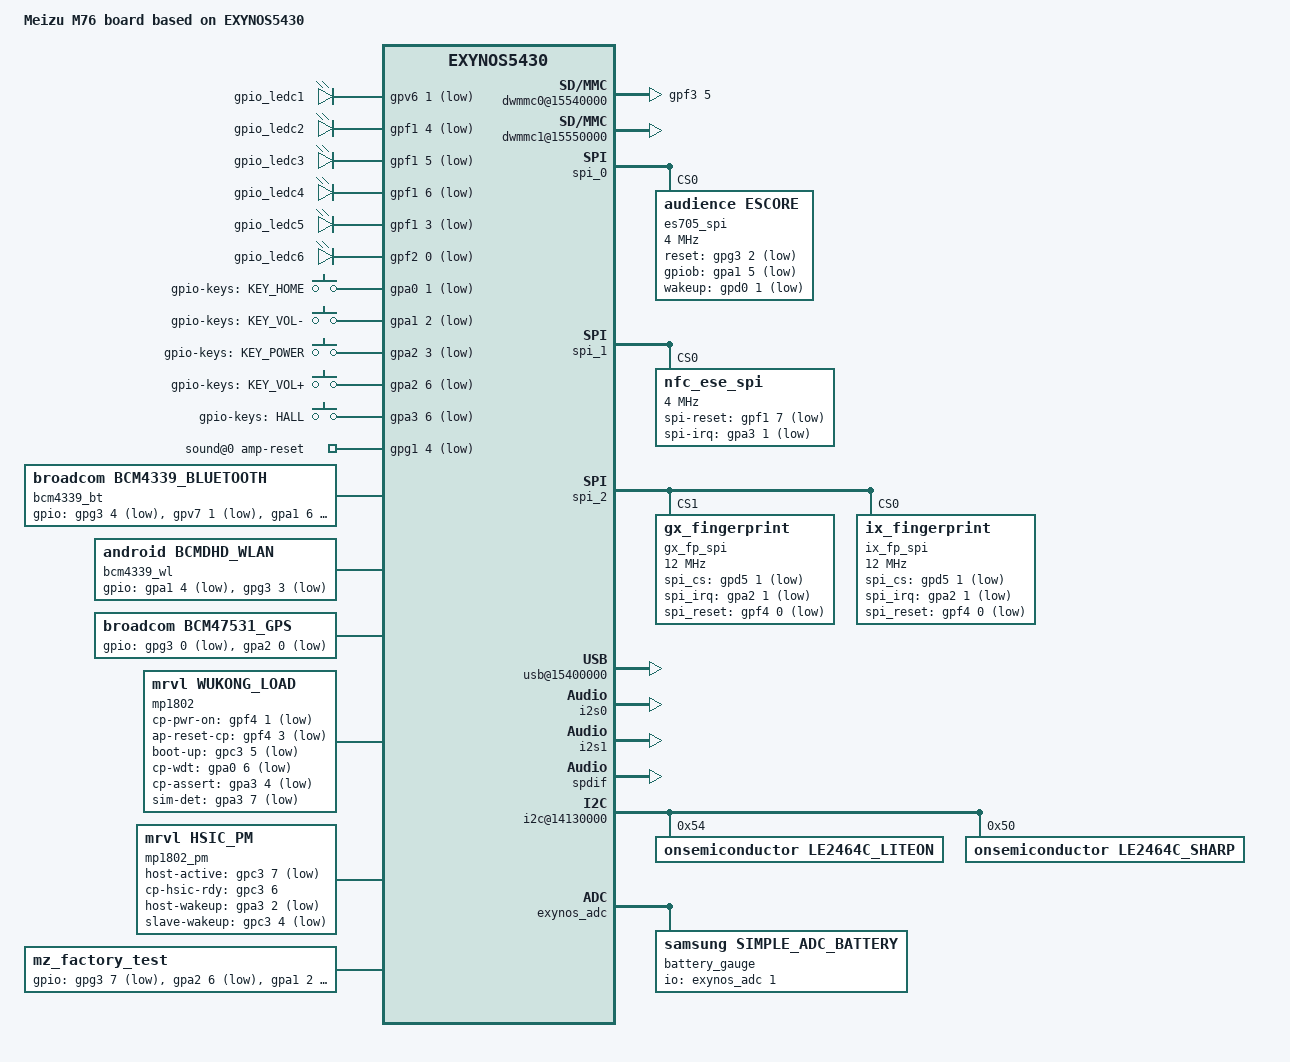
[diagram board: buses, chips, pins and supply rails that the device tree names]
/*
 * MEIZU M76 board device tree source
 *
 * Copyright (c) 2014 Meizu Technology Co., Ltd.
 *		http://www.meizu.com
 *
 * This program is free software; you can redistribute it and/or modify
 * it under the terms of the GNU General Public License version 2 as
 * published by the Free Software Foundation.
*/

#include "exynos5430.dtsi"
#include "exynos5430-m76-i2c.dtsi"
#include "exynos5430-m76-pinctrl.dtsi"
#include "exynos5430-m76-pd_gpio.dtsi"

/ {
	model = "Meizu M76 board based on EXYNOS5430";
	compatible = "meizu,m76";

	chosen {
		bootargs = "console=ttyFIQ2,115200 vmalloc=512M ess_setup=0x26000000 ramoops_setup reset_reason_setup noexec=on earlyprintk no_console_suspend";
	};

	fixed-rate-clocks {
		oscclk {
			compatible = "samsung,exynos5430-oscclk";
			clock-frequency = <24000000>;
		};
	};

	rtc {
		status = "okey";
	};

	reset_reason {
		compatible = "samsung,exynos5430_reset_reason";
		reset_reason,mem_address = <0x28000000>;
		reset_reason,mem_size = <0x10000>;
	};

	/*pstore*/
	ramoops {
		compatible = "linux,ramoops";

		/*struct ramoops_platform_data*/
		ramoops,mem_address = <0x27000000>;
		ramoops,mem_size = <0x100000>;
		ramoops,record_size = <0x40000>;
		ramoops,console_size = <0x40000>;
		ramoops,ftrace_size = <0x40000>;
		ramoops,dump_oops = <1>;
		ramoops,ecc_info_block_size = <0>;
		ramoops,ecc_info_ecc_size = <32>;
		ramoops,ecc_info_symsize = <0>;
		ramoops,ecc_info_poly = <0>;
	};

	fiq_debugger {
		compatible = "samsung,exynos_fiq_debugger";
		interrupts = <0 423 0>; //uart2 irq
		interrupt-names = "uart_irq";
	};

	leds-gpio {
		status = "ok";
		compatible = "gpio-leds";
		#address-cells = <1>;
                #size-cells = <0>;

		//pinctrl-names ="default";
		//pinctrl-0 = "&gpio_ledc1"; // &gpio_ledc2 &gpio_ledc3 &gpi_ledc4 &gpio_ledc5 gpio_ledc6";

		led@1{
			label = "gpio_ledc1";
			gpios = <&gpv6 1 0x1>;
			linux,default-trigger = "gpio_ledc1";
			default-state = "on";
		};
		led@2{
			label = "gpio_ledc2";
			gpios = <&gpf1 4 0x1>;
			linux,default-trigger = "gpio_ledc2";
		};
		led@3{
			label = "gpio_ledc3";
			gpios = <&gpf1 5 0x1>;
			linux,default-trigger = "gpio_ledc3";
		};
		led@4{
			label = "gpio_ledc4";
			gpios = <&gpf1 6 0x1>;
			linux,default-trigger = "gpio_ledc4";
		};
		led@5{
			label = "gpio_ledc5";
			gpios = <&gpf1 3 0x1>;
			linux,default-trigger = "gpio_ledc5";
		};
		led@6{
			label = "gpio_ledc6";
			gpios = <&gpf2 0 0x1>;
			linux,default-trigger = "gpio_ledc6";
			default-state = "on";
		};
	};

	dwmmc0@15540000 {
		status = "okay";
		num-slots = <1>;
		broken-cd;
		bypass-smu;
		fixed_volt;
		clock-gate;
		enable-cclk-on-suspend;
		only_once_tune;
		extra_tuning;
		use-fine-tuning;
		use-enable-shift;
		ignore-phase=<(1<<7|1<<6)>;
		supports-highspeed;
		supports-hs200-1-8v-mode;
		supports-ddr200-1-8v-mode;
		enable-cache-control;
		qos_int_level = <138000>;
		fifo-depth = <0x80>;
		card-detect-delay = <0>;
		samsung,dw-mshc-ciu-div = <3>;
		samsung,dw-mshc-sdr-timing = <3 0 2 1>;
		samsung,dw-mshc-ddr-timing = <3 0 3 2>;
		samsung,dw-mshc-hs200-timing = <3 0 3 0>;
		samsung,dw-mshc-ddr200-timing = <1 0 6 0>;
		samsung,dw-mshc-ddr200-delay-line = <100>;
		clk_pin = "gpr0-0";
		clk_addr = "15690000.pinctrl";
		clk_val = <0x3>;
		clk_str_num = <6>;
		num-ref-clks = <8>;
		ciu_clkin = <25 50 50 100 200 100 200 400>;
		pinctrl-names = "default";
		pinctrl-0 = <&sd0_clk &sd0_cmd &sd0_rdqs &sd0_bus1 &sd0_bus4 &sd0_bus8>;
		gpios = <&gpf3 5 0>;

		slot@0 {
			reg = <0>;
			bus-width = <8>;
		};
	};

	dwmmc1@15550000 {
		bypass-for-allpass;
		status = "okay";
		num-slots = <1>;
		fixed_volt;
		clock-gate;
		enable-cclk-on-suspend;
		only_once_tune;
		keep-power-in-suspend; /* MMC_PM_KEEP_POWER */
		ignore-pm-notify; /* MMC_PM_IGNORE_PM_NOTIFY */
		supports-highspeed; /* DW_MCI_QUIRK_HIGHSPEED */
		qos_int_level = <543000>;
		//clock-frequency = <200000000>; /* 200MHz */
		supports-sdr104-mode;
		supports-poweroff-notification;
		cd-type = <2>; /* cd-type: external */
		fifo-depth = <0x80>;
		card-detect-delay = <200>;
		samsung,dw-mshc-ciu-div = <3>;
		samsung,dw-mshc-sdr-timing = <3 0 2 1>;
		samsung,dw-mshc-ddr-timing = <3 0 3 2>;
		//clk_pin = "gpr2-0"; /* mmc clk pin */
		//clk_addr = "15690000.pinctrl";
		clk_val = <0x3>;
		/* clk_str_num = <6>; */
		num-ref-clks = <8>;
		ciu_clkin = <25 50 50 100 200 100 200 400>;
		//pinctrl-names = "default";
		pinctrl-0 = <&sd1_clk &sd1_cmd &sd1_bus1 &sd1_bus4>;

		slot@0 {
			reg = <0>;
			bus-width = <4>;
		};
	};


	dwmmc2@15560000 {
		status = "disabled";
		num-slots = <1>;
		supports-highspeed;
		clock-gate;
		enable-cclk-on-suspend;
		qos_int_level = <133>;
		cd-type = <1>;
		fifo-depth = <0x40>;
		card-detect-delay = <200>;
		samsung,dw-mshc-ciu-div = <3>;
		samsung,dw-mshc-sdr-timing = <3 0 2 1>;
		samsung,dw-mshc-ddr-timing = <3 0 3 2>;
		clk_pin = "gpr4-0";
		clk_addr = "15690000.pinctrl";
		clk_val = <0x2>;
		clk_str_num = <6>;
		num-ref-clks = <8>;
		ciu_clkin = <25 50 50 100 200 100 200 400>;
		pinctrl-names = "default";
		pinctrl-0 = <&sd2_clk &sd2_cmd &sd2_cd &sd2_bus1 &sd2_bus4>;

		slot@0 {
			reg = <0>;
			bus-width = <4>;
			disable-wp;
		};
	};

	spi_0: spi@14d20000 {
		#address-cells = <1>;
		#size-cells = <0>;

		es705_spi@0 {
			compatible = "audience,escore";
			spi-max-frequency = <4000000>;
			reg = <0x0>;

			adnc,reset-gpio = <&gpg3 2 1>;
			adnc,gpiob-gpio = <&gpa1 5 0xf>;
			adnc,wakeup-gpio = <&gpd0 1 1>;
			adnc,ext_clk_rate = <9>;       /* mclk: 24MHz */
			adnc,enable_hs_uart_intf = <1>;
			adnc,hs_uart_baud = <3000000>;
			pinctrl-names = "default";
			pinctrl-0 = <&es705_reset &es705_irq &es705_wakeup>;

			controller-data {
				cs-gpio = <&gpd8 1 0x2>;
				samsung,spi-feedback-delay = <0>;
			};
		};
	};

	spi_1: spi@14d30000 {
		#address-cells = <1>;
		#size-cells = <0>;

		nfc_ese_spi@0 {
			compatible = "nfc_ese_spi";
			spi-max-frequency = <4000000>;
			reg = <0x0>;

			nxp,spi-reset-gpio = <&gpf1 7 0x1>;
			nxp,spi-irq-gpio = <&gpa3 1 0xF>;

			controller-data {
				cs-gpio = <&gpd6 3 0x2>;
				samsung,spi-feedback-delay = <0>;
			};
		};
	};

	spi_2: spi@14d40000 {
		#address-cells = <1>;
		#size-cells = <0>;

		gx_fp_spi@1{
			compatible = "gx_fingerprint";
			spi-max-frequency = <12000000>;
			reg = <0x1>;

			pinctrl-names ="gx_irq_gpio", "gx_output_hight", "gx_output_low";
			pinctrl-0 = <&gx_irq_gpio>;
			pinctrl-1 = <&gx_output_hight>;
			pinctrl-2 = <&gx_output_low>;

			gx,spi_cs_gpio = <&gpd5 1 0x1>;
			gx,spi_irq_gpio = <&gpa2 1 0x1>;
			gx,spi_reset_gpio = <&gpf4 0 0x1>;

			controller-data{
			/*	cs-gpio = <&gpd5 1 0x2>;*/
				samsung,spi-feedback-delay = <0>;
			};
		};

		ix_fp_spi@10 {
			compatible = "ix_fingerprint";
			spi-max-frequency = <12000000>;
			reg = <0x0>;

			pinctrl-names ="ix_irq_gpio";
			pinctrl-0 = <&ix_irq_gpio>;

			ix,spi_cs_gpio = <&gpd5 1 0x1>;
			ix,spi_irq_gpio = <&gpa2 1 0xF>;
			ix,spi_reset_gpio = <&gpf4 0 0x1>;

			controller-data{
				/*	cs-gpio = <&gpd5 1 0x2>;*/
				samsung,spi-feedback-delay = <0>;
			};
		};
	};

	/*disp_driver {*/
	decon_fb: decon_fb {
		lcd_info = <&meizu_panel>;

		decon: decon_ctrl {
			samsung,max_bpp = <32>;
			samsung,default_bpp = <24>;

			fb_driver_data {
				fb_win_variant_0 {
					has_osd_c = <1>;
					has_osd_d = <1>;
					osd_size_off = <0x08>;
					palette_size = <256>;
					VALID_BPP_1248 = <1>;
					VALID_BPP_13 = <1>;
					VALID_BPP_15 = <1>;
					VALID_BPP_16 = <1>;
					VALID_BPP_18 = <1>;
					VALID_BPP_19 = <1>;
					VALID_BPP_24 = <1>;
					VALID_BPP_25 = <1>;
					VALID_BPP_32 = <1>;
				};
				fb_win_variant_1 {
					has_osd_c = <1>;
					has_osd_d = <1>;
					has_osd_alpha = <1>;
					osd_size_off = <0x0c>;
					palette_size = <256>;
					VALID_BPP_1248 = <1>;
					VALID_BPP_13 = <1>;
					VALID_BPP_15 = <1>;
					VALID_BPP_16 = <1>;
					VALID_BPP_18 = <1>;
					VALID_BPP_19 = <1>;
					VALID_BPP_24 = <1>;
					VALID_BPP_25 = <1>;
					VALID_BPP_32 = <1>;
				};
				fb_win_variant_2 {
					has_osd_c = <1>;
					has_osd_d = <1>;
					has_osd_alpha = <1>;
					osd_size_off = <0x0c>;
					palette_size = <256>;
					VALID_BPP_1248 = <1>;
					VALID_BPP_13 = <1>;
					VALID_BPP_15 = <1>;
					VALID_BPP_16 = <1>;
					VALID_BPP_18 = <1>;
					VALID_BPP_19 = <1>;
					VALID_BPP_24 = <1>;
					VALID_BPP_25 = <1>;
					VALID_BPP_32 = <1>;
				};
				fb_win_variant_3 {
					has_osd_c = <1>;
					has_osd_alpha = <1>;
					palette_size = <256>;
					VALID_BPP_1248 = <1>;
					VALID_BPP_13 = <1>;
					VALID_BPP_15 = <1>;
					VALID_BPP_16 = <1>;
					VALID_BPP_18 = <1>;
					VALID_BPP_19 = <1>;
					VALID_BPP_24 = <1>;
					VALID_BPP_25 = <1>;
					VALID_BPP_32 = <1>;
				};
				fb_win_variant_4 {
					has_osd_c = <1>;
					has_osd_alpha = <1>;
					palette_size = <256>;
					VALID_BPP_1248 = <1>;
					VALID_BPP_13 = <1>;
					VALID_BPP_15 = <1>;
					VALID_BPP_16 = <1>;
					VALID_BPP_18 = <1>;
					VALID_BPP_19 = <1>;
					VALID_BPP_24 = <1>;
					VALID_BPP_25 = <1>;
					VALID_BPP_32 = <1>;
				};
			};
		};

		mipi_dsi: mipi_dsi {
			gpios = <&gpf5 0 0x1 /* LCD_Reset */
				 &gpf2 1 0x1 /* LCD_ID */
				>;

			/* Interface definition: 0 - DSIM_COMMAND,
						 1 - DSIM_VDEO */
			e_interface = <0>;

			/* Pixel format : 0 - DSIM_CMD_3BPP,
					  1 - DSIM_CMD_8BPP,
					  2 - DSIM_CMD_12BPP,
					  3 - DSIM_CMD_16BPP,
					  4 - DSIM_VID_16BPP_565,
					  5 - DSIM_VID_18BPP_666PACKED,
					  6 - DSIM_18BPP_666LOOSELYPACKED,
					  7 - DSIM_24BPP_888 */
			e_pixel_format = <7>;

			/* main frame fifo auto flush at VSYNC pulse */
			auto_flush = <0>;
			eot_disable = <1>;
			auto_vertical_cnt = <0>;
			hse = <0>;
			hfp = <0>;
			hbp = <0>;
			hsa = <0>;

			/* num of data lane : 0 - DSIM_DATA_LANE_1,
					      1 - DSIM_DATA_LANE_2,
					      2 - DSIM_DATA_LANE_3,
					      3 - DSIM_DATA_LANE_4 */
			e_no_data_lane = <3>;
			/* byte clock divider : 0 - DSIM_PLL_OUT_DIV8,
						1 - DSIM_EXT_CLK_DIV8,
						2 - DSIM_EXT_CLK_BYPASS */
			e_byte_clk = <0>;
			/* Burst mode : 0 - DSIM_NON_BURST_SYNC_EVENT,
					2 - DSIM_NON_BURST_SYNC_PULSE,
					1 - DSIM_BURST
					4 - DSIM_NON_VIDEO_MODE */
			e_burst_mode = <1>;

			/* D-PHY PLL stable time spec :min = 200usec ~ max 400usec */
			pll_stable_time = <500>;
			/* escape clk : 7MHz */
			esc_clk = <7000000>;
			/* stop state holding counter after bta change count 0 ~ 0xfff */
			stop_holding_cnt = <0x0fff>;
			/* bta timeout 0 ~ 0xff */
			bta_timeout = <0xff>;
			/* lp rx timeout 0 ~ 0xffff */
			rx_timeout = <0xffff>;
		};

		decon_mic: decon_mic {
			sysreg1 = <0x13B81004>;
			sysreg2 = <0x13B81048>;
		};
		meizu_panel: meizu_panel_wqhd {
			mode = <0>;
			resolution = <1536 2560>;
			size = <72 120>;
			timing,refresh = <58>;
			timing,h-porch = <1 1 1>;
			timing,v-porch = <13 1 1>;
			timing,dsi-hs-clk = <1100>;
			timing,dsi-escape-clk = <20>;
			mic = <1>;
			mic_swap = <1>;
		};
	};

	usb@15400000 {
		pinctrl-names = "default";
		pinctrl-0 = <&id_irq>;
		status = "okay";

		dwc3 {
			maximum-speed = "super-speed";
			dr_mode = "otg";
		};
	};

	usb@15510000 {
		samsung,vbus-gpio = <&gph1 3 0>;
	};

	gpio-keys {
		compatible = "gpio-keys";
		#address-cells = <1>;
		#size-cells = <0>;
		poll-interval = <100>;

		pinctrl-names = "default";
		pinctrl-0 = <&gpio_keys_irq>;
		keypad-name = "gpio-keys";

		button@1 {
			label = "gpio-keys: KEY_HOME";
			interrupts = <1 0 0>;
			interrupt-parent = <&gpa0>;
			linux,code = <102>;
			gpios = <&gpa0 1 0xf>;
			gpio-key,wakeup = <1>;
		};
		button@2 {
			label = "gpio-keys: KEY_VOL-";
			interrupts = <2 0 0>;
			interrupt-parent = <&gpa1>;
			linux,code = <114>;
			gpios = <&gpa1 2 0xf>;
		};
		button@3 {
			label = "gpio-keys: KEY_POWER";
			interrupts = <3 0 0>;
			interrupt-parent = <&gpa2>;
			linux,code = <116>;
			gpios = <&gpa2 3 0xf>;
			gpio-key,wakeup = <1>;
		};
		button@4 {
			label = "gpio-keys: KEY_VOL+";
			interrupts = <6 0 0>;
			interrupt-parent = <&gpa2>;
			linux,code = <115>;
			gpios = <&gpa2 6 0xf>;
		};
		button@5 {
			label = "gpio-keys: HALL";
			interrupts = <6 0 0>;
			interrupt-parent = <&gpa3>;
			linux,code = <0>;
			linux,input-type = <0x05>;
			debounce-interval = <100>;
			gpios = <&gpa3 6 0xf>;
			gpio-key,wakeup = <1>;
		};
	};

	i2s0: i2s@11440000 {
		status = "okay";
	};

	i2s1: i2s@14D60000 {
		status = "okay";
	};

	spdif: spdif@14DB0000 {
		status = "okay";
	};

	audio_codec_dummy: dummy-codec {
		compatible = "samsung,dummy-codec";
	};

	sound@0 {
		compatible = "samsung,meizu-wm8998";
		samsung,audio-cpu = <&i2s0		/* primary */
				&i2s0>;		/* secondary */
		samsung,amp-reset-gpio = <&gpg1 4 1>;
		pinctrl-names = "default";
		pinctrl-0 = <&tfa9890_reset>;
		status = "okay";
	};

	sound@1 {
		compatible = "samsung,meizu-ess9018k2m";
		samsung,audio-cpu = <&i2s1>;
		samsung,audio-codec = <&audio_codec_ess9018k2m>;
		status = "okay";
	};

	sound@2 {
		compatible = "samsung,dummy-audio";
		dummy,audio-codec =<&audio_codec_dummy>;
		status = "okay";
	};

	spi_3: spi@141a0000 {
		status = "disabled";
	};

	spi_4: spi@141b0000 {
		status = "disabled";
	};

	mipi-lli@10F24000 {
		modem-name = "ss300";
		modems {
			ss300 {
				/* enable scrambler */
				scrambler = <1>;
				/* do not control automode by AP */
				automode = <0>;
			};

			xmm7260 {
				/* disable scrambler */
				scrambler = <0>;
				/* do not control automode by AP */
				automode = <0>;
			};
		};

		mphy {
			modem-name = "ss300";
			modems {
				ss300 {
					/* initial-gear is HS-G2 */
					init-gear = <2 2 1>;
					/* use shared reference clock for MPHY */
					shd-refclk = <1>;
				};

				xmm7260 {
					/* initial-gear is HS-G1 */
					init-gear = <2 1 1>;
					/* use shared reference clock for MPHY */
					shd-refclk = <1>;
				};
			};
		};
	};

	i2c@14130000 {
		status = "okay";
		samsung,i2c-sda-delay = <100>;
		samsung,i2c-max-bus-freq = <400000>;

		le2464c_liteon@0 {
		        compatible = "onsemiconductor,le2464c_liteon";
			reg = <0x54>;
		};

		le2464c_sharp@0 {
		        compatible = "onsemiconductor,le2464c_sharp";
			reg = <0x50>;
		};
	};

	fimc_is_sensor0: fimc_is_sensor@12100000 { /* flite0 reg addr, for rear */
		scenario = <0>;
		gpio_reset = <&gpc0 0 0x1>;
		gpio_flash_hwen = <&gpc0 4 0x1>;
		//gpios_comp_en = <&gpd4 2 0x1>; /* COMP_EN */
		//gpios_comp_reset = <&gpg3 6 0x1>; /* COMP_rstn */
		//gpios_board_rev =<&gpf3 2 0x1 /* BOARD_REVIRION */
		//		&gpf3 3 0x1>; /* BOARD_REVIRION */
		id = <0>;
		mclk_ch = <1>;
		csi_ch = <0>;
		flite_ch = <0>;
		i2c_ch = <0x0000>; /* actuator | sensor */
		i2c_addr = <0xE420>;
		flash_first_gpio = <2>;
		flash_second_gpio = <3>;
		is_bns = <1>;
		status = "okay";
	};

	fimc_is_sensor1: fimc_is_sensor@12110000 {
		scenario = <0>;
		gpio_reset = <&gpc0 1 0x1>;
		gpio_standby = <&gpc0 5 0x1>;
		//gpios_board_rev =<&gpf3 2 0x1 /* BOARD_REVIRION */
		//		&gpf3 3 0x1>; /* BOARD_REVIRION */
		id = <1>;
		mclk_ch = <0>;
		csi_ch = <2>;
		flite_ch = <2>;
		i2c_ch = <0x1>;
		i2c_addr = <0x6c>; /* front camera i2c addr */
		is_bns = <0>;
		status = "okay";
	};

	fimc_is@14000000 {
		fimc_is_dvfs {
			default_int = <543000>; /* L0 */
			default_cam = <777000>; /* L0 */
			default_mif = <825000>; /* L0 */
			default_i2c = <0>;

			front_preview_5m_int = <400000>; /* L0 */
			front_preview_5m_cam = <466000>; /* L3 */
			front_preview_5m_mif = <825000>; /* L0 */
			front_preview_5m_i2c = <0>;

			front_preview_fhd_int = <400000>; /* L0 */
			front_preview_fhd_cam = <222000>; /* L7 */
			front_preview_fhd_mif = <543000>; /* L2 */
			front_preview_fhd_i2c = <0>;

			front_camcording_2k_int = <400000>; /* L0 */
			front_camcording_2k_cam = <466000>; /* L3 */
			front_camcording_2k_mif = <825000>; /* L0 */
			front_camcording_2k_i2c = <0>;

			front_camcording_fhd_int = <400000>; /* L0 */
			front_camcording_fhd_cam = <222000>; /* L7 */
			front_camcording_fhd_mif = <543000>; /* L2 */
			front_camcording_fhd_i2c = <0>;

			front_high_speed_fps_int = <400000>; /* L0 */
			front_high_speed_fps_cam = <466000>; /* L3 */
			front_high_speed_fps_mif = <825000>; /* L0 */
			front_high_speed_fps_i2c = <0>;

			front_vt1_int = <400000>; /* L0 */
			front_vt1_cam = <777000>; /* L0 */
			front_vt1_mif = <825000>; /* L0 */
			front_vt1_i2c = <0>;

			front_vt2_int = <400000>; /* L0 */
			front_vt2_cam = <777000>; /* L0 */
			front_vt2_mif = <825000>; /* L0 */
			front_vt2_i2c = <0>;

			front_smart_stay_int = <267000>;
			front_smart_stay_cam = <333000>;
			front_smart_stay_mif = <272000>;
			front_smart_stay_i2c = <0>;

			rear_preview_13m_int = <400000>; /* L0 */
			rear_preview_13m_cam = <455000>; /* L4 */
			rear_preview_13m_mif = <543000>; /* L2 */
			rear_preview_13m_i2c = <0>;

			rear_preview_5m_int = <400000>; /* L0 */
			rear_preview_5m_cam = <444000>; /* L5 */
			rear_preview_5m_mif = <543000>; /* L2 */
			rear_preview_5m_i2c = <0>;

			rear_capture_20m_int = <400000>; /* L0 */
			rear_capture_20m_cam = <466000>; /* L3 */
			rear_capture_20m_mif = <633000>; /* L1 */
			rear_capture_20m_i2c = <0>;

			rear_capture_13m_int = <400000>; /* L0 */
			rear_capture_13m_cam = <777000>; /* L0 */
			rear_capture_13m_mif = <633000>; /* L1 */
			rear_capture_13m_i2c = <0>;

			rear_capture_5m_int = <400000>; /* L0 */
			rear_capture_5m_cam = <777000>; /* L0 */
			rear_capture_5m_mif = <825000>; /* L0 */
			rear_capture_5m_i2c = <0>;

			rear_camcording_4k_int = <400000>; /* L0 */
			rear_camcording_4k_cam = <555000>; /* L2 */
			rear_camcording_4k_mif = <825000>; /* L0 */
			rear_camcording_4k_i2c = <0>;

			rear_camcording_2k_int = <400000>; /* L0 */
			rear_camcording_2k_cam = <333000>; /* L6 */
			rear_camcording_2k_mif = <633000>; /* L1 */
			rear_camcording_2k_i2c = <0>;

			rear_camcording_fhd_int = <400000>; /* L0 */
			rear_camcording_fhd_cam = <333000>; /* L6 */
			rear_camcording_fhd_mif = <825000>; /* L0 */
			rear_camcording_fhd_i2c = <0>;

			rear_camcording_720p_int = <400000>; /* L0 */
			rear_camcording_720p_cam = <333000>; /* L6 */
			rear_camcording_720p_mif = <825000>; /* L0 */
			rear_camcording_720p_i2c = <0>;

			rear_camcording_480p_int = <400000>; /* L0 */
			rear_camcording_480p_cam = <333000>; /* L6 */
			rear_camcording_480p_mif = <825000>; /* L0 */
			rear_camcording_480p_i2c = <0>;

			rear_high_speed_fps_int = <543000>; /* L0 */
			rear_high_speed_fps_cam = <777000>; /* L0 */
			rear_high_speed_fps_mif = <825000>; /* L0 */
			rear_high_speed_fps_i2c = <0>;

			max_int = <543000>; /* L0 */
			max_cam = <777000>; /* L0 */
			max_mif = <825000>; /* L0 */
			max_i2c = <0>;
		};
	};

	ion {
		compatible = "samsung,exynos5430-ion";

		contig-names = "common",
			       "mfc_sh",
			       "g2d_wfd",
			       "video",
			       "sectbl",
			       "mfc_fw",
			       "mfc_nfw",
			       "secdma";

		contig = <0 0x400000 0x0>,
		         <2 0x100000 0x0>,
		         <10 0x800000 0x0>,
		         <11 0x8100000 0x0>,
		         <9 0x100000 0x0>,
		         <8 0x200000 0x0>,
		         <12 0x200000 0x0>,
		         <13 0x20000 0x0>;

		contig-isolate_on_boot = <0>, <2>, <8>,
					  <9>, <10>, <11>, <12>, <13>;

		ion_noncontig_heap {
			id-type = <0 0>;
		};

		exynos_contig_heap {
			id-type = <4 6>;
		};
	};

	fimg2d_pdata {
		g2d_qos_table {
			g2d_qos_variant_0 {
				freq_int = <400000>;
				freq_mif = <825000>;
				freq_cpu = <1500000>;
				freq_kfc = <1500000>;
			};
			g2d_qos_variant_1 {
				freq_int = <400000>;
				freq_mif = <825000>;
				freq_cpu = <0>;
				freq_kfc = <800000>;
			};
			g2d_qos_variant_2 {
				freq_int = <317000>;
				freq_mif = <543000>;
				freq_cpu = <0>;
				freq_kfc = <800000>;
			};
			g2d_qos_variant_3 {
				freq_int = <267000>;
				freq_mif = <413000>;
				freq_cpu = <0>;
				freq_kfc = <800000>;
			};
			g2d_qos_variant_4 {
				freq_int = <267000>;
				freq_mif = <413000>;
				freq_cpu = <0>;
				freq_kfc = <500000>;

			};
		};
	};

	exynos_adc: adc@14D10000 {
		battery_gauge {
			compatible = "samsung,simple_adc_battery";
			interval_ms = <10000>;
			sample_count = <1>;
			no_battery_mv = <2000>;
			min_mv = <3400>;
			max_mv = <4200>;
			adc_per_uv = <1435>;
			io-channels = <&exynos_adc 1>;
			io-channel-names = "battery_adc";
		};
	};

	bcm4339_bt:bluetooth {
		compatible ="broadcom,bcm4339_bluetooth";
		gpios = <&gpg3 4 1 /* enable, BT_REG_ON */
				&gpv7 1 1 /* wakeup, BT_DEV_WAKE */
				&gpa1 6 0xf  /* interrupt, BT_HOST_WAKE */
				&gpz1 3 1 //gpio 42, BT_RTS
				>;
		pinctrl-names = "default";
		pinctrl-0 = <&bt_host_wake>;
	};

	bcm4339_wl:wifi {
		compatible = "android,bcmdhd_wlan";
		gpios = <&gpa1 4 1 /* WL_HOST_WAKE */
				&gpg3 3 1 /* WL_REG_ON */
				>;
		pinctrl-names = "gpio_wl_sfn_on", "gpio_wl_sfn_off";
		pinctrl-0 = <&sd1_clk &sd1_cmd &sd1_bus1 &sd1_bus4>;
		pinctrl-1 = <&gpio_wl_sfn_off>;
	};

	bcm47531_gps:gps {
		compatible = "broadcom,bcm47531_gps";
		gpios = <&gpg3 0 1 /* enable, GPS_POWER */
				&gpa2 0 0xf  /* interrupt, GPS_HOST_WAKE */
				>;
	};

	mp1802:wukong {
		compatible ="mrvl,wukong_load";
		nezha,cp-pwr-on-gpio = <&gpf4 1 0x1>;    /* power on */
		nezha,ap-reset-cp-gpio = <&gpf4 3 0x1>;  /* reset hold */

		nezha,boot-up-gpio = <&gpc3 5 0xF>;        /* cpimg bootup irq */
		nezha,cp-wdt-gpio = <&gpa0 6 0xF>;         /* cp watchdog irq */
		nezha,cp-assert-gpio = <&gpa3 4 0xF>;      /* cp assert irq */
		nezha,sim-det-gpio = <&gpa3 7 0xF>;      /* cp assert irq */

		pinctrl-names = "default";
		pinctrl-0 = <&cp_pwr_on &ap_rst_cp &cp_bootup &ap_hsic_rdy &slave_wakeup &cp_hsic_rdy &cp_wdt_irq &cp_ast_irq>;
	};

	mp1802_pm: hsic_pm {
		compatible ="mrvl,hsic_pm";

		nezha,host-active-gpio = <&gpc3 7 0x1>;
		nezha,cp-hsic-rdy-gpio = <&gpc3 6 0>;
		nezha,host-wakeup-gpio = <&gpa3 2 0xF>;
		nezha,slave-wakeup-gpio = <&gpc3 4 0x1>;
	};

	mz_factory_test {
		compatible ="mz_factory_test";
		gpios = <&gpg3 7 1 /* factory mode */
				&gpa2 6 1 /* volup */
				&gpa1 2 1 /* voldown */
				>;
	};
};
